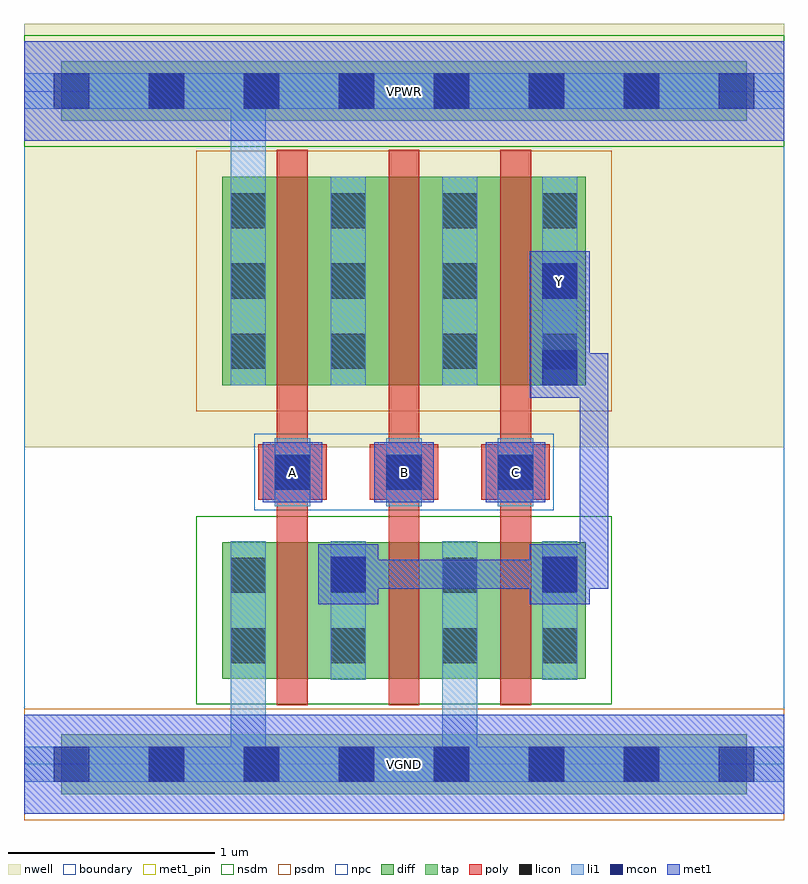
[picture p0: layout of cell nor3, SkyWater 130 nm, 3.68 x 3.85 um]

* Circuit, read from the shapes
.subckt nor3 A B C VGND VPWR Y
XM1 Y A VGND VGND sky130_fd_pr__nfet_01v8 w=0.66 l=0.15
XM2 VGND B Y VGND sky130_fd_pr__nfet_01v8 w=0.66 l=0.15
XM3 Y C VGND VGND sky130_fd_pr__nfet_01v8 w=0.66 l=0.15
XM4 n1 A VPWR VPWR sky130_fd_pr__pfet_01v8 w=1.01 l=0.15
XM5 n2 B n1 VPWR sky130_fd_pr__pfet_01v8 w=1.01 l=0.15
XM6 Y C n2 VPWR sky130_fd_pr__pfet_01v8 w=1.01 l=0.15
.ends

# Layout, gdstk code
import gdstk
lib = gdstk.Library(unit=1e-6, precision=1e-09)
def R(c, l, rs):  # rectangles x0, y0, x1, y1
    for r in rs: c.add(gdstk.rectangle(r[:2], r[2:], *l))
def A(c, l, x, y, w, h, nx, ny, dx, dy):  # array of equal rectangles
    R(c, l, [(x+i*dx, y+j*dy, x+i*dx+w, y+j*dy+h) for i in range(nx) for j in range(ny)])
nwell = (64, 20)
diff = (65, 20)
tap = (65, 44)
poly = (66, 20)
licon = (66, 44)
li1 = (67, 20)
mcon = (67, 44)
met1_pin = (68, 16)
met1 = (68, 20)
nsdm = (93, 44)
psdm = (94, 20)
npc = (95, 20)
boundary = (235, 4)

nor3 = lib.new_cell('nor3')
R(nor3, nwell, [(0,1.535,3.68,3.585)])
R(nor3, diff, [(0.96,0.415,2.72,1.075), (0.96,1.835,2.72,2.845)])
R(nor3, tap, [(0.18,-0.145,3.5,0.145), (0.18,3.115,3.5,3.405)])
A(nor3, poly, 1.225, 0.285, 0.15, 2.69, 3, 1, 0.54, 0)
A(nor3, poly, 1.135, 1.28, 0.33, 0.27, 3, 1, 0.54, 0)
A(nor3, licon, 0.605, -0.085, 0.17, 0.17, 6, 2, 0.46, 3.26)
A(nor3, licon, 1.215, 1.33, 0.17, 0.17, 3, 1, 0.54, 0)
A(nor3, licon, 1, 1.915, 0.17, 0.17, 1, 3, 0, 0.34)
A(nor3, licon, 1.485, 1.915, 0.17, 0.17, 1, 3, 0, 0.34)
A(nor3, licon, 2.025, 1.915, 0.17, 0.17, 1, 3, 0, 0.34)
A(nor3, licon, 2.51, 1.915, 0.17, 0.17, 1, 3, 0, 0.34)
R(nor3, licon, [(1,0.49,1.17,0.66), (1.485,0.49,1.655,0.66), (2.025,0.49,2.195,0.66), (2.51,0.49,2.68,0.66), (1,0.83,1.17,1), (1.485,0.83,1.655,1), (2.025,0.83,2.195,1), (2.51,0.83,2.68,1)])
A(nor3, li1, 1.215, 1.25, 0.17, 0.33, 3, 1, 0.54, 0)
R(nor3, li1, [(0,-0.085,3.68,0.085), (1,-0.085,1.17,1.08), (2.025,-0.085,2.195,1.08), (1,0.41,1.17,1.08), (1.485,0.41,1.655,1.08), (2.025,0.41,2.195,1.08), (2.51,0.41,2.68,1.08), (1,1.835,1.17,2.845), (1,1.835,1.17,3.345), (1.485,1.835,1.655,2.845), (2.025,1.835,2.195,2.845), (2.51,1.835,2.68,2.845), (0,3.175,3.68,3.345)])
A(nor3, mcon, 0.145, -0.085, 0.17, 0.17, 8, 2, 0.46, 3.26)
A(nor3, mcon, 1.215, 1.33, 0.17, 0.17, 3, 1, 0.54, 0)
R(nor3, mcon, [(1.485,0.835,1.655,1.005), (2.51,0.835,2.68,1.005), (2.51,1.835,2.68,2.005), (2.51,2.255,2.68,2.425)])
A(nor3, met1_pin, 1.155, 1.27, 0.29, 0.29, 3, 1, 0.54, 0)
R(nor3, met1_pin, [(0,-0.24,3.68,0.24), (2.45,2.195,2.74,2.485), (0,3.02,3.68,3.5)])
A(nor3, met1, 1.155, 1.27, 0.29, 0.29, 3, 1, 0.54, 0)
R(nor3, met1, [(0,-0.24,3.68,0.24), (1.425,0.775,1.715,1.065), (2.45,0.775,2.74,1.065), (1.5,0.85,1.795,0.99), (1.655,0.85,2.83,0.99), (2.525,0.85,2.83,0.99), (2.69,0.85,2.83,1.795), (2.69,1.655,2.83,1.99), (2.45,1.775,2.74,2.065), (2.525,1.85,2.83,1.99), (2.45,2.065,2.74,2.195), (2.45,2.195,2.74,2.485), (0,3.02,3.68,3.5)])
R(nor3, nsdm, [(0.835,0.29,2.845,1.2), (0,2.99,3.68,3.53)])
R(nor3, psdm, [(0,-0.27,3.68,0.27), (0.835,1.71,2.845,2.97)])
R(nor3, npc, [(1.115,1.23,2.565,1.6)])
R(nor3, boundary, [(0,0,3.68,3.26)])
nor3.add(gdstk.Label('A', (1.3,1.415), layer=68, texttype=5))
nor3.add(gdstk.Label('B', (1.84,1.415), layer=68, texttype=5))
nor3.add(gdstk.Label('C', (2.38,1.415), layer=68, texttype=5))
nor3.add(gdstk.Label('Y', (2.595,2.34), layer=68, texttype=5))
nor3.add(gdstk.Label('VPWR', (1.84,3.26), layer=68, texttype=5))
nor3.add(gdstk.Label('VGND', (1.84,0), layer=68, texttype=5))
nor3.add(gdstk.Label('A', (1.3,1.415), layer=68, texttype=16))
nor3.add(gdstk.Label('B', (1.84,1.415), layer=68, texttype=16))
nor3.add(gdstk.Label('C', (2.38,1.415), layer=68, texttype=16))
nor3.add(gdstk.Label('Y', (2.595,2.34), layer=68, texttype=16))
nor3.add(gdstk.Label('VPWR', (1.84,3.26), layer=68, texttype=16))
nor3.add(gdstk.Label('VGND', (1.84,0), layer=68, texttype=16))

lib.write_gds('nor3.gds')
